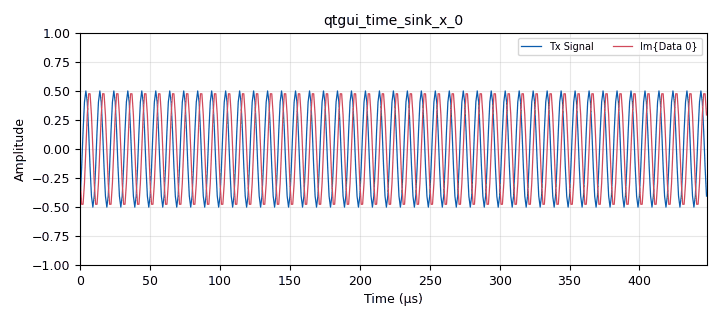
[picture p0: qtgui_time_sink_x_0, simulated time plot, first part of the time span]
options:
  parameters:
    author: Srihari
    description: Transmitter side for RF intrusion detection using USRP
    generate_options: qt_gui
    id: Tx_intrusion_detection
    output_language: python
    title: Tx intrusion detection
  states: {}

blocks:
- name: center_freq
  id: variable
  parameters:
    value: 2.45e9
  states: {}
- name: samp_rate
  id: variable
  parameters:
    value: '1000000'
  states: {}
- name: signal_freq
  id: variable
  parameters:
    value: '100000'
  states: {}
- name: tx_gain
  id: variable_qtgui_range
  parameters:
    comment: Adjust Tx gain at runtime
    label: Tx Gain (dB)
    rangeType: int
    start: '0'
    step: '1'
    stop: '60'
    value: '30'
  states: {}
- name: analog_sig_source_x_0
  id: analog_sig_source_x
  parameters:
    amp: '1'
    comment: Continuous sine wave carrier
    freq: signal_freq
    offset: '0'
    phase: '0'
    samp_rate: samp_rate
    type: complex
    waveform: analog.GR_SIN_WAVE
  states: {}
- name: blocks_multiply_const_vxx_0
  id: blocks_multiply_const_vxx
  parameters:
    comment: Scale to 0.5 to prevent USRP DAC clipping
    const: '0.5'
    type: complex
  states: {}
- name: qtgui_freq_sink_x_0
  id: qtgui_freq_sink_x
  parameters:
    average: '0.05'
    bw: samp_rate
    comment: Verify Tx spectrum before transmitting
    fc: center_freq
    fftsize: '1024'
    label1: Tx Spectrum
    type: complex
  states: {state: disabled}
- name: qtgui_time_sink_x_0
  id: qtgui_time_sink_x
  parameters:
    comment: Monitor Tx waveform
    label1: Tx Signal
    size: '1024'
    srate: samp_rate
    type: complex
  states: {}
- name: uhd_usrp_sink_0
  id: uhd_usrp_sink
  parameters:
    ant0: TX/RX
    bw0: '1000000'
    center_freq0: center_freq
    comment: USRP Transmitter - must match Rx center freq
    dev_addr: ''
    gain0: tx_gain
    otw: sc16
    samp_rate: samp_rate
    sync: sync
    time_source0: internal
    type: fc32
  states: {state: disabled}

connections:
- [analog_sig_source_x_0, '0', blocks_multiply_const_vxx_0, '0']
- [blocks_multiply_const_vxx_0, '0', qtgui_freq_sink_x_0, '0']
- [blocks_multiply_const_vxx_0, '0', qtgui_time_sink_x_0, '0']
- [blocks_multiply_const_vxx_0, '0', uhd_usrp_sink_0, '0']

metadata:
  file_format: 1
  grc_version: 3.10.12.0
